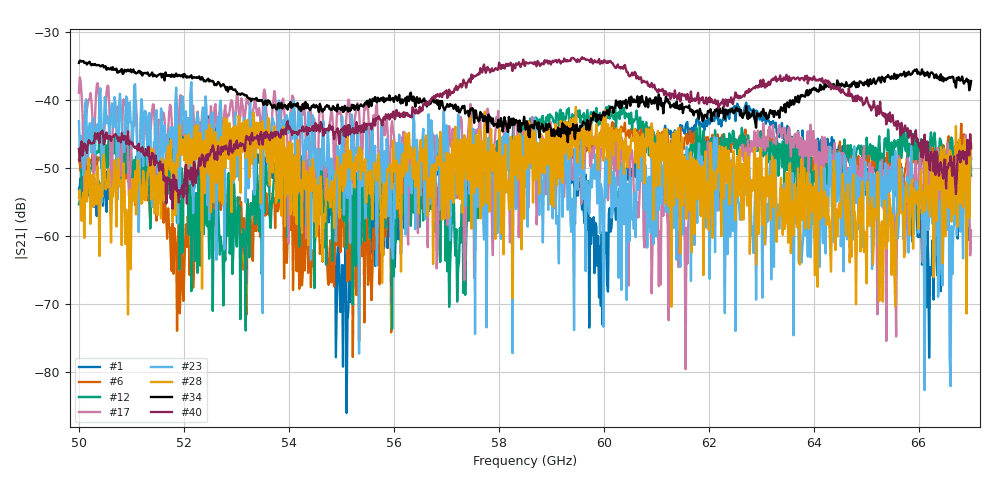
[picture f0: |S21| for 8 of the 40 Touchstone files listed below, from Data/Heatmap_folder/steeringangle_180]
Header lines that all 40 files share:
!Created with skrf (http://scikit-rf.org).
# GHz S RI R 50.0
!freq ReS11 ImS11 ReS21 ImS21 ReS12 ImS12 ReS22 ImS22
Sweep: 50 GHz to 67 GHz
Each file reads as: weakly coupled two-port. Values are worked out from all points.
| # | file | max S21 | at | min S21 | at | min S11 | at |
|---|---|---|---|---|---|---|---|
| 1 | az=40_el=0.s2p | -40.44 dB | 62.72 GHz | -86.0 dB | 55.1 GHz | -42.8 dB | 62.56 GHz |
| 2 | az=41_el=0.s2p | -42.15 dB | 60.61 GHz | -76.0 dB | 53.55 GHz | -42.0 dB | 62.56 GHz |
| 3 | az=42_el=0.s2p | -42.73 dB | 57.67 GHz | -69.5 dB | 52.33 GHz | -42.4 dB | 62.56 GHz |
| 4 | az=43_el=0.s2p | -42.93 dB | 63.23 GHz | -75.8 dB | 50.73 GHz | -41.9 dB | 62.56 GHz |
| 5 | az=44_el=0.s2p | -43.44 dB | 61.9 GHz | -79.6 dB | 54.96 GHz | -45.7 dB | 62.56 GHz |
| 6 | az=45_el=0.s2p | -43.28 dB | 60.17 GHz | -77.7 dB | 55.22 GHz | -44.3 dB | 62.56 GHz |
| 7 | az=46_el=0.s2p | -43.11 dB | 60.05 GHz | -84.1 dB | 55.24 GHz | -47.6 dB | 62.56 GHz |
| 8 | az=47_el=0.s2p | -42.80 dB | 65.32 GHz | -87.4 dB | 50.03 GHz | -43.5 dB | 62.56 GHz |
| 9 | az=48_el=0.s2p | -42.70 dB | 59.52 GHz | -77.1 dB | 54.2 GHz | -46.3 dB | 62.56 GHz |
| 10 | az=49_el=0.s2p | -42.25 dB | 64.26 GHz | -72.6 dB | 54.06 GHz | -49.3 dB | 62.56 GHz |
| 11 | az=50_el=0.s2p | -40.09 dB | 61.07 GHz | -80.4 dB | 53.77 GHz | -48.2 dB | 62.56 GHz |
| 12 | az=51_el=0.s2p | -40.90 dB | 60.1 GHz | -73.9 dB | 53.18 GHz | -46.0 dB | 62.56 GHz |
| 13 | az=52_el=0.s2p | -40.07 dB | 59.15 GHz | -77.3 dB | 56.72 GHz | -44.5 dB | 62.56 GHz |
| 14 | az=53_el=0.s2p | -39.78 dB | 61.07 GHz | -78.3 dB | 54.06 GHz | -47.2 dB | 67 GHz |
| 15 | az=54_el=0.s2p | -39.74 dB | 60.37 GHz | -76.8 dB | 50.03 GHz | -45.3 dB | 62.56 GHz |
| 16 | az=55_el=0.s2p | -40.31 dB | 50.17 GHz | -108.1 dB | 61.59 GHz | -49.2 dB | 67 GHz |
| 17 | az=56_el=0.s2p | -36.73 dB | 50.02 GHz | -79.5 dB | 61.56 GHz | -43.5 dB | 67 GHz |
| 18 | az=57_el=0.s2p | -38.66 dB | 50 GHz | -79.8 dB | 60.13 GHz | -49.2 dB | 62.56 GHz |
| 19 | az=58_el=0.s2p | -39.99 dB | 52.23 GHz | -77.6 dB | 66.52 GHz | -45.5 dB | 62.56 GHz |
| 20 | az=59_el=0.s2p | -40.72 dB | 52.02 GHz | -76.4 dB | 64.94 GHz | -42.2 dB | 62.56 GHz |
| 21 | az=60_el=0.s2p | -37.77 dB | 50.88 GHz | -95.6 dB | 64.3 GHz | -43.2 dB | 62.56 GHz |
| 22 | az=61_el=0.s2p | -37.79 dB | 52.6 GHz | -83.9 dB | 58.74 GHz | -44.6 dB | 62.65 GHz |
| 23 | az=62_el=0.s2p | -37.42 dB | 52.14 GHz | -82.6 dB | 66.12 GHz | -42.8 dB | 62.65 GHz |
| 24 | az=63_el=0.s2p | -37.40 dB | 51 GHz | -81.2 dB | 52.87 GHz | -41.4 dB | 62.65 GHz |
| 25 | az=64_el=0.s2p | -38.68 dB | 50.32 GHz | -91.0 dB | 66.39 GHz | -42.4 dB | 62.65 GHz |
| 26 | az=65_el=0.s2p | -39.54 dB | 57.7 GHz | -78.1 dB | 65.35 GHz | -45.4 dB | 62.65 GHz |
| 27 | az=66_el=0.s2p | -41.03 dB | 57.8 GHz | -85.2 dB | 54.93 GHz | -42.5 dB | 62.38 GHz |
| 28 | az=67_el=0.s2p | -41.07 dB | 59.47 GHz | -71.5 dB | 50.94 GHz | -43.6 dB | 62.65 GHz |
| 29 | az=68_el=0.s2p | -41.74 dB | 59.47 GHz | -76.3 dB | 64.65 GHz | -43.3 dB | 62.65 GHz |
| 30 | az=69_el=0.s2p | -40.92 dB | 59.08 GHz | -73.8 dB | 55.32 GHz | -45.4 dB | 62.38 GHz |
| 31 | az=70_el=0.s2p | -40.14 dB | 58.74 GHz | -82.2 dB | 62.33 GHz | -43.6 dB | 62.38 GHz |
| 32 | az=-2_el=0.s2p | -31.19 dB | 57.4 GHz | -48.7 dB | 64.04 GHz | -37.5 dB | 59.59 GHz |
| 33 | az=-3_el=0.s2p | -31.84 dB | 50 GHz | -65.9 dB | 63.09 GHz | -37.7 dB | 59.59 GHz |
| 34 | az=-4_el=0.s2p | -34.28 dB | 50.03 GHz | -46.2 dB | 59.32 GHz | -38.7 dB | 59.59 GHz |
| 35 | az=-5_el=0.s2p | -36.43 dB | 66.12 GHz | -55.9 dB | 54.35 GHz | -37.6 dB | 59.59 GHz |
| 36 | az=-6_el=0.s2p | -37.38 dB | 57.5 GHz | -56.5 dB | 50.09 GHz | -37.3 dB | 59.59 GHz |
| 37 | az=-7_el=0.s2p | -37.10 dB | 54.61 GHz | -67.6 dB | 59.83 GHz | -37.3 dB | 59.59 GHz |
| 38 | az=-8_el=0.s2p | -35.93 dB | 61.27 GHz | -44.7 dB | 57.46 GHz | -36.6 dB | 59.59 GHz |
| 39 | az=-9_el=0.s2p | -35.03 dB | 61.41 GHz | -50.5 dB | 53.3 GHz | -36.1 dB | 59.59 GHz |
| 40 | az=-10_el=0.s2p | -33.77 dB | 59.59 GHz | -56.0 dB | 51.78 GHz | -35.4 dB | 58.23 GHz |
